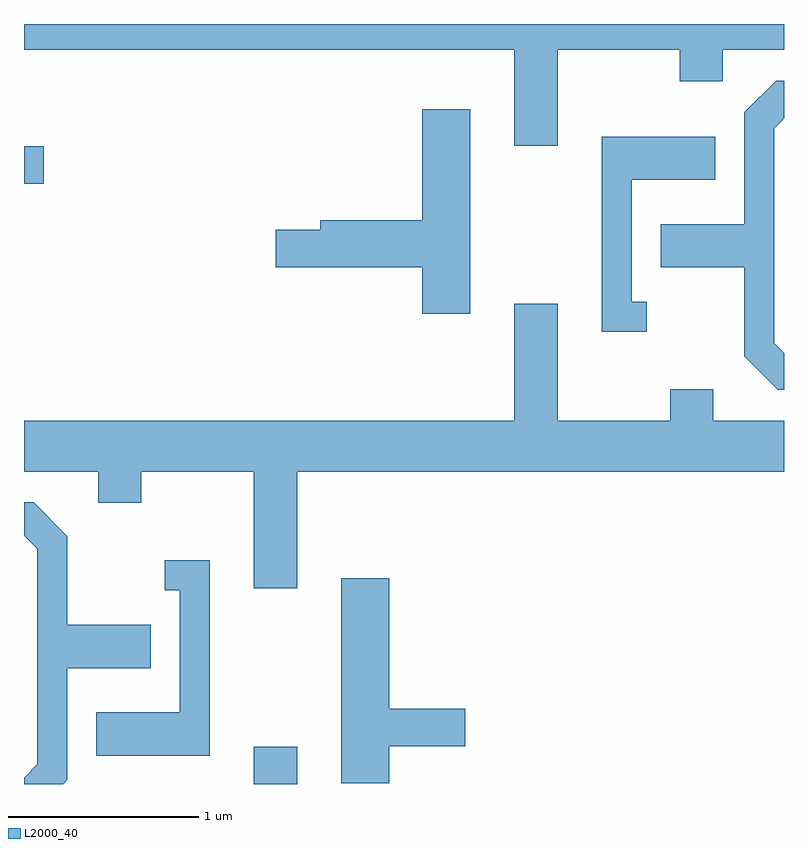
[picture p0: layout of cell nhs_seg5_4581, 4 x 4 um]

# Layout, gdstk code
import gdstk
lib = gdstk.Library(unit=1e-6, precision=1e-09)
def R(c, l, rs):  # rectangles x0, y0, x1, y1
    for r in rs: c.add(gdstk.rectangle(r[:2], r[2:], *l))
def P(c, l, *ps):  # polygons
    for p in ps: c.add(gdstk.Polygon(p, *l))
L2000_40 = (2000, 40)

nhs_seg5_4581 = lib.new_cell('nhs_seg5_4581')
R(nhs_seg5_4581, L2000_40, [(322.821,1424.072,323.049,1424.269), (321.611,1427.231,321.714,1427.429)])
P(nhs_seg5_4581, L2000_40, [(324.419,1427.936),(325.061,1427.936),(325.061,1427.771),(325.289,1427.771),(325.289,1427.936),(325.611,1427.936),(325.611,1428.072),(321.611,1428.072),(321.611,1427.936),(324.191,1427.936),(324.191,1427.431),(324.419,1427.431)],
  [(325.611,1426.34),(325.559,1426.392),(325.559,1427.524),(325.611,1427.575),(325.611,1427.774),(325.569,1427.774),(325.401,1427.607),(325.401,1427.019),(324.961,1427.019),(324.961,1426.791),(325.401,1426.791),(325.401,1426.324),(325.579,1426.146),(325.611,1426.146)],
  [(323.959,1427.624),(323.706,1427.624),(323.706,1427.039),(323.171,1427.039),(323.171,1426.989),(322.936,1426.989),(322.936,1426.791),(323.706,1426.791),(323.706,1426.546),(323.959,1426.546)],
  [(324.888,1426.609),(324.809,1426.609),(324.809,1427.251),(325.249,1427.251),(325.249,1427.479),(324.651,1427.479),(324.651,1426.451),(324.888,1426.451)],
  [(321.611,1425.716),(322.001,1425.716),(322.001,1425.551),(322.229,1425.551),(322.229,1425.716),(322.821,1425.716),(322.821,1425.101),(323.049,1425.101),(323.049,1425.716),(325.611,1425.716),(325.611,1425.984),(325.239,1425.984),(325.239,1426.149),(325.011,1426.149),(325.011,1425.984),(324.419,1425.984),(324.419,1426.599),(324.191,1426.599),(324.191,1425.984),(321.611,1425.984)],
  [(321.839,1424.094),(321.839,1424.681),(322.279,1424.681),(322.279,1424.909),(321.839,1424.909),(321.839,1425.377),(321.662,1425.554),(321.611,1425.554),(321.611,1425.379),(321.681,1425.309),(321.681,1424.177),(321.611,1424.106),(321.611,1424.072),(321.817,1424.072)],
  [(322.589,1425.249),(322.353,1425.249),(322.353,1425.091),(322.431,1425.091),(322.431,1424.449),(321.991,1424.449),(321.991,1424.221),(322.589,1424.221)],
  [(323.534,1424.271),(323.934,1424.271),(323.934,1424.469),(323.534,1424.469),(323.534,1425.154),(323.281,1425.154),(323.281,1424.076),(323.534,1424.076)])

lib.write_gds('nhs_seg5_4581.gds')
